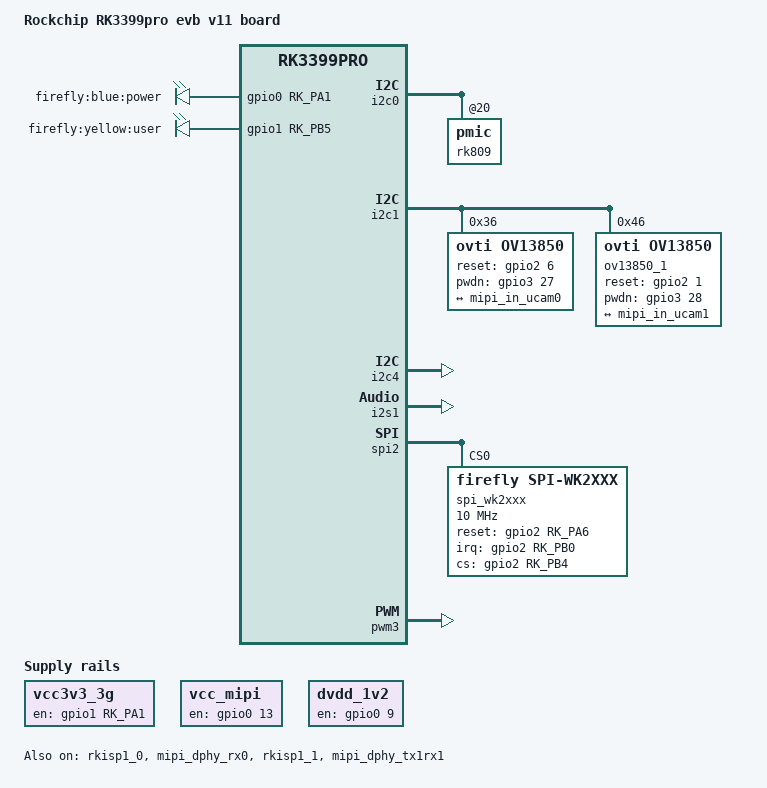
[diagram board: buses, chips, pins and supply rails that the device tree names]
/*
 * Copyright (c) 2016 Fuzhou Rockchip Electronics Co., Ltd
 *
 * This file is dual-licensed: you can use it either under the terms
 * of the GPL or the X11 license, at your option. Note that this dual
 * licensing only applies to this file, and not this project as a
 * whole.
 *
 *  a) This file is free software; you can redistribute it and/or
 *     modify it under the terms of the GNU General Public License as
 *     published by the Free Software Foundation; either version 2 of the
 *     License, or (at your option) any later version.
 *
 *     This file is distributed in the hope that it will be useful,
 *     but WITHOUT ANY WARRANTY; without even the implied warranty of
 *     MERCHANTABILITY or FITNESS FOR A PARTICULAR PURPOSE.  See the
 *     GNU General Public License for more details.
 *
 * Or, alternatively,
 *
 *  b) Permission is hereby granted, free of charge, to any person
 *     obtaining a copy of this software and associated documentation
 *     files (the "Software"), to deal in the Software without
 *     restriction, including without limitation the rights to use,
 *     copy, modify, merge, publish, distribute, sublicense, and/or
 *     sell copies of the Software, and to permit persons to whom the
 *     Software is furnished to do so, subject to the following
 *     conditions:
 *
 *     The above copyright notice and this permission notice shall be
 *     included in all copies or substantial portions of the Software.
 *
 *     THE SOFTWARE IS PROVIDED "AS IS", WITHOUT WARRANTY OF ANY KIND,
 *     EXPRESS OR IMPLIED, INCLUDING BUT NOT LIMITED TO THE WARRANTIES
 *     OF MERCHANTABILITY, FITNESS FOR A PARTICULAR PURPOSE AND
 *     NONINFRINGEMENT. IN NO EVENT SHALL THE AUTHORS OR COPYRIGHT
 *     HOLDERS BE LIABLE FOR ANY CLAIM, DAMAGES OR OTHER LIABILITY,
 *     WHETHER IN AN ACTION OF CONTRACT, TORT OR OTHERWISE, ARISING
 *     FROM, OUT OF OR IN CONNECTION WITH THE SOFTWARE OR THE USE OR
 *     OTHER DEALINGS IN THE SOFTWARE.
 */

#include "rk3399pro-firefly-core.dtsi"

/ {
	model = "Rockchip RK3399pro evb v11 board";
	compatible = "rockchip,rk3399pro-firefly-port", "rockchip,rk3399pro";

	rk809-sound {
		compatible = "simple-audio-card";
		simple-audio-card,format = "i2s";
		simple-audio-card,name = "rockchip,rk809-codec";
		simple-audio-card,mclk-fs = <256>;
		simple-audio-card,widgets =
			"Microphone", "Mic Jack",
			"Headphone", "Headphone Jack";
		simple-audio-card,routing =
			"Mic Jack", "MICBIAS1",
			"IN1P", "Mic Jack",
			"Headphone Jack", "HPOL",
			"Headphone Jack", "HPOR";
		simple-audio-card,cpu {
			sound-dai = <&i2s1>;
		};
		simple-audio-card,codec {
			sound-dai = <&rk809_codec>;
		};
	};

	rk_headset {
		compatible = "rockchip_headset";
//		headset_gpio = <&gpio0 RK_PB1 GPIO_ACTIVE_HIGH>;
		io-channels = <&saradc 3>;
		status = "disabled";
	};

        vcc3v3_3g: vcc3v3-3g-regulator {
                compatible = "regulator-fixed";
                enable-active-high;
                regulator-always-on;
                regulator-boot-on;
                gpio = <&gpio1 RK_PA1 GPIO_ACTIVE_HIGH>;
                pinctrl-names = "default";
                pinctrl-0 = <&pcie_3g_drv>;
                regulator-name = "vcc3v3_3g";
        };

    leds {
       compatible = "gpio-leds";
       power_led: power {
           label = "firefly:blue:power";
           linux,default-trigger = "ir-power-click";
           default-state = "on";
           gpios = <&gpio0 RK_PA1 GPIO_ACTIVE_HIGH>;
           pinctrl-names = "default";
           pinctrl-0 = <&led_power>;
       };
       user_led: user {
           label = "firefly:yellow:user";
           linux,default-trigger = "ir-user-click";
           default-state = "off";
           gpios = <&gpio1 RK_PB5 GPIO_ACTIVE_HIGH>;
           pinctrl-names = "default";
           pinctrl-0 = <&led_user>;
       };
   };

   /* GPIO1_C7 controls both VCC18_MIPI and VCC28_MIPI, also AF28 */
        vcc_mipi: vcc_mipi {
		compatible = "regulator-fixed";
		enable-active-high;
		gpio = <&gpio0 13 GPIO_ACTIVE_HIGH>;
		pinctrl-names = "default";
		pinctrl-0 = <&dvp_pwr>;
		regulator-name = "vcc_mipi";
		status = "okay";
        };

        dvdd_1v2: dvdd-1v2 {
		compatible = "regulator-fixed";
		enable-active-high;
		gpio = <&gpio0 9 GPIO_ACTIVE_HIGH>;
		pinctrl-names = "default";
		pinctrl-0 = <&cif_pwr>;
		regulator-name = "dvdd_1v2";
		status = "okay";
        };

};

&i2c0 {
	rk809: pmic@20 {
		rk809_codec: codec {
			#sound-dai-cells = <0>;
			compatible = "rockchip,rk809-codec", "rockchip,rk817-codec";
			clocks = <&cru SCLK_I2S_8CH_OUT>;
			clock-names = "mclk";
			pinctrl-names = "default","spk_gpio";
			pinctrl-0 = <&i2s_8ch_mclk>;
			hp-volume = <20>;
			spk-volume = <3>;
        		io-channels = <&saradc 4>;
        		hp-det-adc-value = <930>;
			capture-volume = <0>;
			spk-ctl = <&gpio0 RK_PB1 GPIO_ACTIVE_HIGH>;
			pinctrl-1 = <&spk_ctl_gpio>;
			status = "okay";
		};
	};
};

&i2c1 {
	mpu6500@68 {
		status = "disabled";
		compatible = "invensense,mpu6500";
		reg = <0x68>;
		irq-gpio = <&gpio3 RK_PD2 IRQ_TYPE_EDGE_RISING>;
		mpu-int_config = <0x10>;
		mpu-level_shifter = <0>;
		mpu-orientation = <0 1 0 1 0 0 0 0 1>;
		orientation-x= <0>;
		orientation-y= <0>;
		orientation-z= <1>;
		mpu-debug = <1>;
	};

	ov13850: ov13850@36 {
		compatible = "ovti,ov13850";
		status = "okay";
		reg = <0x36>;
		clocks = <&cru SCLK_CIF_OUT>;
		clock-names = "xvclk";

		/* conflict with csi-ctl-gpios */
		reset-gpios = <&gpio2 6 GPIO_ACTIVE_HIGH>;  /*GPIO2_A6 MIP_RST*/
		pwdn-gpios = <&gpio3 27 GPIO_ACTIVE_HIGH>;   /*GPIO3_D3 VSYNC*/
		pinctrl-names = "rockchip,camera_default", "rockchip,camera_sleep";
		//pinctrl-0 = <&cif_clkout>;
		pinctrl-0 = <&pwdn_cam0 &mipi_rst>;
		pinctrl-1 = <&cam0_default_pins>;
		pinctrl-2 = <&cam0_sleep_pins>;

		rockchip,camera-module-index = <0>;
		rockchip,camera-module-facing = "back";
		rockchip,camera-module-name = "CMK-CT0116";
		rockchip,camera-module-lens-name = "Largan-50013A1";

		port {
			ucam_out0: endpoint {
				remote-endpoint = <&mipi_in_ucam0>;
				data-lanes = <1 2>;
			};
		};
	};

	ov13850_1: ov13850@46 {
		compatible = "ovti,ov13850";
		status = "okay";
		reg = <0x46>;
		clocks = <&cru SCLK_CIF_OUT>;
		clock-names = "xvclk";

		/* conflict with csi-ctl-gpios */
		reset-gpios = <&gpio2 1 GPIO_ACTIVE_HIGH>;		//GPIO2_A1
		pwdn-gpios = <&gpio3 28 GPIO_ACTIVE_HIGH>;		//GPIO3_D4
		pinctrl-names = "rockchip,camera_default", "rockchip,camera_sleep";
		pinctrl-0 = <&pwdn_cam1>;
		//pinctrl-0 = <&cif_clkout>;
		pinctrl-1 = <&cam0_default_pins>;
		pinctrl-2 = <&cam0_sleep_pins>;
		rockchip,camera-module-index = <1>;
		rockchip,camera-module-facing = "back";
		rockchip,camera-module-name = "CMK-CT0116";
		rockchip,camera-module-lens-name = "Largan-50013A1";


		port {
			ucam_out1: endpoint {
				remote-endpoint = <&mipi_in_ucam1>;
				data-lanes = <1 2>;
			};
		};
	};


	sensor@d {
		status = "disabled";
		compatible = "ak8963";
		reg = <0x0d>;
		type = <SENSOR_TYPE_COMPASS>;
		irq-gpio = <&gpio3 RK_PD7 IRQ_TYPE_EDGE_RISING>;
		irq_enable = <0>;
		poll_delay_ms = <30>;
		layout = <3>;
	};
};

&i2c4 {
	status = "okay";
	i2c-scl-rising-time-ns = <300>;
	i2c-scl-falling-time-ns = <15>;


};

&i2s1 {
	status = "okay";
};

&spi2 {
	status = "okay";
	max-freq = <48000000>;
	dev-port = <0>;

        spi_wk2xxx: spi_wk2xxx@00{
		status = "okay";
		compatible = "firefly,spi-wk2xxx";
		reg = <0x00>;
		spi-max-frequency = <10000000>;
		reset-gpio = <&gpio2 RK_PA6 GPIO_ACTIVE_HIGH>;
		irq-gpio = <&gpio2 RK_PB0 IRQ_TYPE_EDGE_FALLING>;
		cs-gpio = <&gpio2 RK_PB4 GPIO_ACTIVE_HIGH>;
		/* rk3399 driver support SPI_CPOL | SPI_CPHA | SPI_CS_HIGH */
		//spi-cpha;             /* SPI mode: CPHA=1 */
		//spi-cpol;     /* SPI mode: CPOL=1 */
		//spi-cs-high;
        };
};

&pwm3 {
	status = "okay";
	interrupts = <GIC_SPI 61 IRQ_TYPE_LEVEL_HIGH 0>;
	compatible = "rockchip,remotectl-pwm";
	remote_pwm_id = <3>;
	handle_cpu_id = <5>;
	remote_support_psci = <1>;
	pinctrl-names = "default";

    ir_key1{
	rockchip,usercode = <0xff00>;
	rockchip,key_table =
		<0xeb   KEY_POWER>,
		<0xec   KEY_MENU>,
		<0xfe   KEY_BACK>,
		<0xb7   KEY_HOME>,
		<0xa3   KEY_WWW>,
		<0xf4   KEY_VOLUMEUP>,
		<0xa7   KEY_VOLUMEDOWN>,
		<0xf8   KEY_REPLY>,
		<0xfc   KEY_UP>,
		<0xfd   KEY_DOWN>,
		<0xf1   KEY_LEFT>,
		<0xe5   KEY_RIGHT>;
    };
};


&pinctrl {
	pcie {
	        pcie_3g_drv: pcie-3g-drv {
	        rockchip,pins =
	        <1 RK_PA1 RK_FUNC_GPIO &pcfg_pull_up>;
	        };
	};

	cam_pins {
		cam0_default_pins: cam0-default-pins {
			rockchip,pins =
				<1 9 RK_FUNC_3 &pcfg_pull_none>;
		};
		cam0_sleep_pins: cam0-sleep-pins {
			rockchip,pins =
				<1 9 RK_FUNC_GPIO &pcfg_pull_none>;
		};
		pwdn_cam0: pwdn-cma0 {
			rockchip,pins =
				<3 27 RK_FUNC_GPIO &pcfg_pull_none>;
		};
		pwdn_cam1: pwdn-cma1 {
			rockchip,pins =
				<2 1 RK_FUNC_GPIO &pcfg_pull_none>;
		};

		mipi_rst: mipi-rst {
			rockchip,pins =
				<2 6 RK_FUNC_GPIO &pcfg_pull_none>;
		};

	};

        leds {
                led_power: led-power {
                        rockchip,pins = <0 RK_PA1 RK_FUNC_GPIO &pcfg_pull_none>;
                };

                led_user: led-user {
                        rockchip,pins = <1 RK_PB5 RK_FUNC_GPIO &pcfg_pull_none>;
                };
        };

	cam0 {
                cif_pwr: cif-pwr {
                        rockchip,pins = <0 9 RK_FUNC_GPIO &pcfg_pull_down>;
                };

                dvp_pwr: dvp-pwr {
                        rockchip,pins = <0 13 RK_FUNC_GPIO &pcfg_pull_down>;
                };
        };
         rk809 {
		 spk_ctl_gpio: spk_ctl_gpio {
	                 rockchip,pins = <0 RK_PB1 RK_FUNC_GPIO &pcfg_pull_up_20ma>;
	         };
	 };

};

&rkisp1_0 {
	status = "okay";

	port {
		#address-cells = <1>;
		#size-cells = <0>;

		isp0_mipi_in: endpoint@0 {
			reg = <0>;
			remote-endpoint = <&dphy_rx0_out>;
		};
	};
};

&mipi_dphy_rx0 {
	status = "okay";
	ports {
		#address-cells = <1>;
		#size-cells = <0>;

		port@0 {
			reg = <0>;
			#address-cells = <1>;
			#size-cells = <0>;

			mipi_in_ucam0: endpoint@1 {
				reg = <1>;
				remote-endpoint = <&ucam_out0>;
				data-lanes = <1 2>;
			};
		};

		port@1 {
			reg = <1>;
			#address-cells = <1>;
			#size-cells = <0>;

			dphy_rx0_out: endpoint@0 {
				reg = <0>;
				remote-endpoint = <&isp0_mipi_in>;
			};
		};
	};
};

&isp0_mmu {
	status = "okay";
};

&rkisp1_1 {
	status = "okay";

	port {
		#address-cells = <1>;
		#size-cells = <0>;

		isp1_mipi_in: endpoint@0 {
			reg = <0>;
			remote-endpoint = <&dphy_tx1rx1_out>;
		};
	};
};

&mipi_dphy_tx1rx1 {
	status = "okay";

	ports {
		#address-cells = <1>;
		#size-cells = <0>;

		port@0 {
			reg = <0>;
			#address-cells = <1>;
			#size-cells = <0>;

			mipi_in_ucam1: endpoint@1 {
				reg = <1>;
				remote-endpoint = <&ucam_out1>;
				data-lanes = <1 2>;
			};
		};

		port@1 {
			reg = <1>;
			#address-cells = <1>;
			#size-cells = <0>;

			dphy_tx1rx1_out: endpoint@0 {
				reg = <0>;
				remote-endpoint = <&isp1_mipi_in>;
			};
		};
	};
};

&isp1_mmu {
	status = "okay";
};

